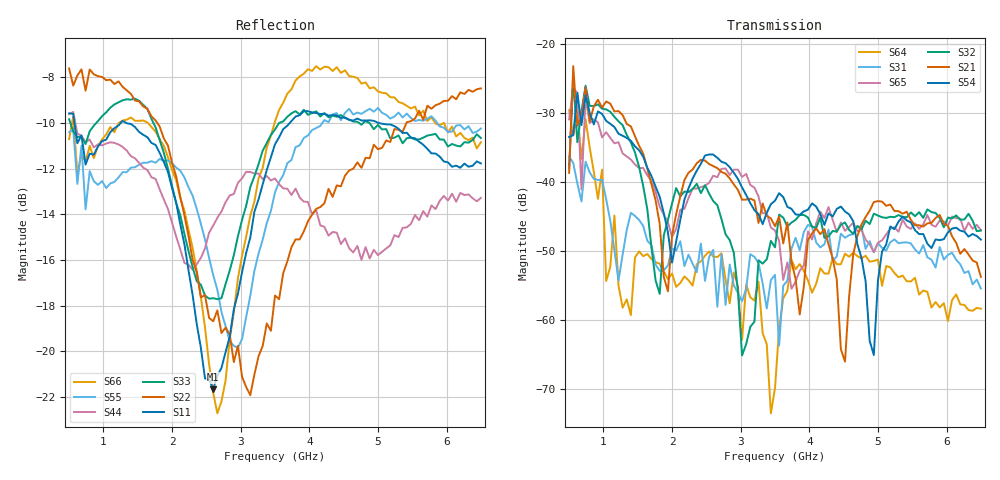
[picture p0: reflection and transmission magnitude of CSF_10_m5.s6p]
!Keysight Technologies,M9804A,MY58100912,A.14.10.03
!Date: Thursday, April 27, 2023 10:28:33
!Correction: S11(C  6-Port  )
!S12(C  6-Port  )
!S13(C  6-Port  )
!S14(C  6-Port  )
!S15(C  6-Port  )
!S16(C  6-Port  )
!S21(C  6-Port  )
!S22(C  6-Port  )
!S23(C  6-Port  )
!S24(C  6-Port  )
!S25(C  6-Port  )
!S26(C  6-Port  )
!S31(C  6-Port  )
!S32(C  6-Port  )
!S33(C  6-Port  )
!S34(C  6-Port  )
!S35(C  6-Port  )
!S36(C  6-Port  )
!S41(C  6-Port  )
!S42(C  6-Port  )
!S43(C  6-Port  )
!S44(C  6-Port  )
!S45(C  6-Port  )
!S46(C  6-Port  )
!S51(C  6-Port  )
!S52(C  6-Port  )
!S53(C  6-Port  )
!S54(C  6-Port  )
!S55(C  6-Port  )
!S56(C  6-Port  )
!S61(C  6-Port  )
!S62(C  6-Port  )
!S63(C  6-Port  )
!S64(C  6-Port  )
!S65(C  6-Port  )
!S66(C  6-Port  )
!S6P File: Measurement: :
# Hz S  RI  R 50
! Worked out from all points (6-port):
!   101 points, 500 MHz to 6.5 GHz, reference 50 ohm
!   strongest paths, dB at 500 MHz, 2 GHz, 3.5 GHz, 5 GHz, 6.5 GHz:
!     S54: -33.5, -51.7, -42.7, -54.3, -48.4
!     S21: -38.7, -47.7, -46.4, -42.8, -53.8
!     S32: -38.0, -43.1, -49.5, -44.9, -47.0
!     S65: -30.9, -47.9, -47.0, -48.8, -47.0
!     S31: -36.3, -49.6, -53.5, -48.8, -55.5
!     S64: -29.6, -53.3, -69.9, -51.3, -58.4
!   lowest |S11| = -21.7 dB at 2.6 GHz (marker M1), VSWR 1.18, Z = 42.6 + j2.05 ohm
!   |S11| at or under -10 dB: 578.7 MHz to 1.253 GHz (674.5 MHz wide, 73.6 % of centre); 1.333 GHz to 3.715 GHz (2.383 GHz wide, 94.4 % of centre); 5.012 GHz to end of sweep
